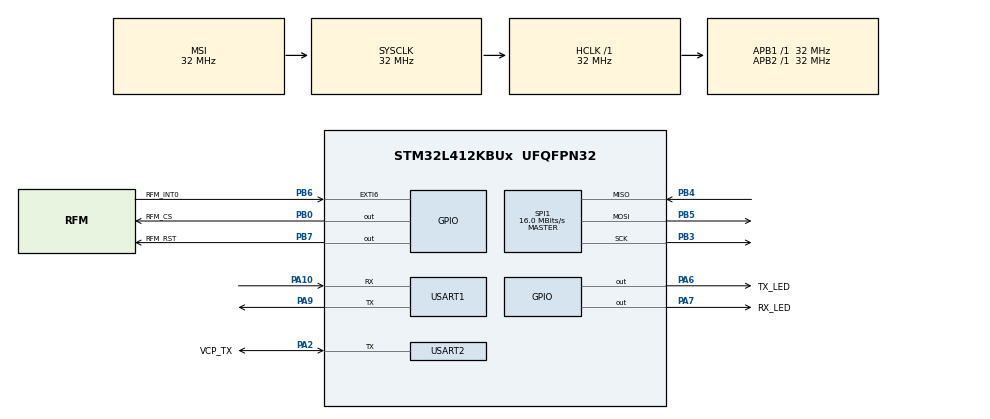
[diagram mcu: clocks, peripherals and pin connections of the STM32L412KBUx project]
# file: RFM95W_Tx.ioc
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Mcu.Family=STM32L4
Mcu.Name=STM32L412KBUx
Mcu.Package=UFQFPN32
NVIC.EXTI9_5_IRQn=true\:0\:0\:false\:false\:true\:true\:true\:true
NVIC.PriorityGroup=NVIC_PRIORITYGROUP_4
PA0-CK_IN.Signal=RCC_CK_IN
PA10.Mode=Asynchronous
PA10.Signal=USART1_RX
PA13\ (JTMS/SWDIO).GPIO_Label=SWDIO
PA13\ (JTMS/SWDIO).Signal=SYS_JTMS-SWDIO
PA14\ (JTCK/SWCLK).GPIO_Label=SWCLK
PA14\ (JTCK/SWCLK).Signal=SYS_JTCK-SWCLK
PA15\ (JTDI).GPIO_Label=VCP_RX
PA15\ (JTDI).Signal=USART2_RX
PA2.GPIO_Label=VCP_TX
PA2.Mode=Half_duplex(single_wire_mode)
PA2.Signal=USART2_TX
PA6.GPIO_Label=TX_LED
PA6.GPIO_PuPd=GPIO_PULLUP
PA6.Signal=GPIO_Output
PA7.GPIO_Label=RX_LED
PA7.GPIO_PuPd=GPIO_PULLUP
PA7.Signal=GPIO_Output
PA9.Mode=Asynchronous
PA9.Signal=USART1_TX
PB0.GPIO_Label=RFM_CS
PB0.Signal=GPIO_Output
PB3\ (JTDO/TRACESWO).Mode=Full_Duplex_Master
PB3\ (JTDO/TRACESWO).Signal=SPI1_SCK
PB4\ (NJTRST).Mode=Full_Duplex_Master
PB4\ (NJTRST).Signal=SPI1_MISO
PB5.Mode=Full_Duplex_Master
PB5.Signal=SPI1_MOSI
PB6.GPIO_Label=RFM_INT0
PB6.Signal=GPXTI6
PB7.GPIO_Label=RFM_RST
PB7.Signal=GPIO_Output
PC14-OSC32_IN\ (PC14).Signal=RCC_OSC32_IN
PC15-OSC32_OUT\ (PC15).Signal=RCC_OSC32_OUT
ProjectManager.HeapSize=0x200
ProjectManager.StackSize=0x400
ProjectManager.TargetToolchain=STM32CubeIDE
RCC.ADCFreq_Value=32000000
RCC.AHBFreq_Value=32000000
RCC.APB1Freq_Value=32000000
RCC.APB1TimFreq_Value=32000000
RCC.APB2Freq_Value=32000000
RCC.APB2TimFreq_Value=32000000
RCC.CortexFreq_Value=32000000
RCC.FLatency=FLASH_LATENCY_1
RCC.HCLKFreq_Value=32000000
RCC.HSE_VALUE=8000000
RCC.HSI48_VALUE=48000000
RCC.HSICalibrationValue=64
RCC.HSI_VALUE=16000000
RCC.LSE_VALUE=32768
RCC.MSIClockRange=RCC_MSIRANGE_10
RCC.MSI_VALUE=32000000
RCC.SYSCLKFreq_VALUE=32000000
RCC.USBFreq_Value=32000000
RCC.VCOOutputFreq_Value=256000000
SPI1.CalculateBaudRate=16.0 MBits/s
SPI1.DataSize=SPI_DATASIZE_8BIT
SPI1.Direction=SPI_DIRECTION_2LINES
SPI1.Mode=SPI_MODE_MASTER
SPI1.VirtualType=VM_MASTER
USART1.VirtualMode-Asynchronous=VM_ASYNC
USART2.VirtualMode-Half_duplex(single_wire_mode)=VM_ASYNC
VP_FATFS_VS_Generic.Mode=User_defined
board=NUCLEO-L412KB

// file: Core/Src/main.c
/* USER CODE BEGIN Header */
/**
  ******************************************************************************
  * @file           : main.c
  * @brief          : Main program body
  ******************************************************************************
  * @attention
  *
  * Copyright (c) 2025 STMicroelectronics.
  * All rights reserved.
  *
  * This software is licensed under terms that can be found in the LICENSE file
  * in the root directory of this software component.
  * If no LICENSE file comes with this software, it is provided AS-IS.
  *
  ******************************************************************************
  */
/* USER CODE END Header */
#include "main.h"
#include "fatfs.h"

/* USER CODE BEGIN Includes */
#include "rfm95.h"
#include <stdio.h>
/* USER CODE END Includes */

SPI_HandleTypeDef hspi1;

UART_HandleTypeDef huart1;
UART_HandleTypeDef huart2;

void SystemClock_Config(void);
static void MX_GPIO_Init(void);
static void MX_SPI1_Init(void);
static void MX_USART2_UART_Init(void);
static void MX_USART1_UART_Init(void);

/* USER CODE BEGIN 0 */
/*Overwrite _write function to allow printf to print to serial consle*/
int _write(int file, char *ptr, int len) {
	HAL_StatusTypeDef hstatus;

	if ( (file == 1) | (file == 2) ){/*Stout=1 or Sterr=2*/
		hstatus = HAL_UART_Transmit(&huart2, (uint8_t *) ptr, len, HAL_MAX_DELAY);
		if (hstatus == HAL_OK)
			return len;
		else
			return -1;
	}
	return -1;
}
/* USER CODE END 0 */

int main(void)
{

  /* USER CODE BEGIN 1 */
	uint8_t LoRa_buff[RH_RF95_FIFO_SIZE] = {0};
  /* USER CODE END 1 */

  /* MCU Configuration--------------------------------------------------------*/

  /* Reset of all peripherals, Initializes the Flash interface and the Systick. */
  HAL_Init();

  /* Configure the system clock */
  SystemClock_Config();

  /* Initialize all configured peripherals */
  MX_GPIO_Init();
  MX_SPI1_Init();
  MX_USART2_UART_Init();
  MX_USART1_UART_Init();
  MX_FATFS_Init();
  /* USER CODE BEGIN 2 */
	if(!RF95_Init()){
		printf("RFM95 Init Failed\n");
	}
	printf("RFM95 Init Success\n");
  /* USER CODE END 2 */

  /* Infinite loop */
  while (1)
  {
		HAL_GPIO_WritePin(TX_LED_GPIO_Port, TX_LED_Pin, GPIO_PIN_SET);
  	strcpy((char*)LoRa_buff, "Test\n");
  	RF95_send(LoRa_buff);
		HAL_Delay(1000);
		HAL_GPIO_WritePin(TX_LED_GPIO_Port, TX_LED_Pin, GPIO_PIN_RESET);
		printf("Sent data\r\n");
		HAL_Delay(1000);

  }
}

void SystemClock_Config(void)
{
  RCC_OscInitTypeDef RCC_OscInitStruct = {0};
  RCC_ClkInitTypeDef RCC_ClkInitStruct = {0};

  /** Configure the main internal regulator output voltage
  */
  if (HAL_PWREx_ControlVoltageScaling(PWR_REGULATOR_VOLTAGE_SCALE1) != HAL_OK)
  {
    Error_Handler();
  }

  /** Initializes the RCC Oscillators according to the specified parameters
  * in the RCC_OscInitTypeDef structure.
  */
  RCC_OscInitStruct.OscillatorType = RCC_OSCILLATORTYPE_MSI;
  RCC_OscInitStruct.MSIState = RCC_MSI_ON;
  RCC_OscInitStruct.MSICalibrationValue = 0;
  RCC_OscInitStruct.MSIClockRange = RCC_MSIRANGE_10;
  RCC_OscInitStruct.PLL.PLLState = RCC_PLL_NONE;
  if (HAL_RCC_OscConfig(&RCC_OscInitStruct) != HAL_OK)
  {
    Error_Handler();
  }

  /** Initializes the CPU, AHB and APB buses clocks
  */
  RCC_ClkInitStruct.ClockType = RCC_CLOCKTYPE_HCLK|RCC_CLOCKTYPE_SYSCLK
                              |RCC_CLOCKTYPE_PCLK1|RCC_CLOCKTYPE_PCLK2;
  RCC_ClkInitStruct.SYSCLKSource = RCC_SYSCLKSOURCE_MSI;
  RCC_ClkInitStruct.AHBCLKDivider = RCC_SYSCLK_DIV1;
  RCC_ClkInitStruct.APB1CLKDivider = RCC_HCLK_DIV1;
  RCC_ClkInitStruct.APB2CLKDivider = RCC_HCLK_DIV1;

  if (HAL_RCC_ClockConfig(&RCC_ClkInitStruct, FLASH_LATENCY_1) != HAL_OK)
  {
    Error_Handler();
  }
}

static void MX_SPI1_Init(void)
{

  /* SPI1 parameter configuration*/
  hspi1.Instance = SPI1;
  hspi1.Init.Mode = SPI_MODE_MASTER;
  hspi1.Init.Direction = SPI_DIRECTION_2LINES;
  hspi1.Init.DataSize = SPI_DATASIZE_8BIT;
  hspi1.Init.CLKPolarity = SPI_POLARITY_LOW;
  hspi1.Init.CLKPhase = SPI_PHASE_1EDGE;
  hspi1.Init.NSS = SPI_NSS_SOFT;
  hspi1.Init.BaudRatePrescaler = SPI_BAUDRATEPRESCALER_2;
  hspi1.Init.FirstBit = SPI_FIRSTBIT_MSB;
  hspi1.Init.TIMode = SPI_TIMODE_DISABLE;
  hspi1.Init.CRCCalculation = SPI_CRCCALCULATION_DISABLE;
  hspi1.Init.CRCPolynomial = 7;
  hspi1.Init.CRCLength = SPI_CRC_LENGTH_DATASIZE;
  hspi1.Init.NSSPMode = SPI_NSS_PULSE_ENABLE;
  if (HAL_SPI_Init(&hspi1) != HAL_OK)
  {
    Error_Handler();
  }

}

static void MX_USART1_UART_Init(void)
{

  huart1.Instance = USART1;
  huart1.Init.BaudRate = 115200;
  huart1.Init.WordLength = UART_WORDLENGTH_8B;
  huart1.Init.StopBits = UART_STOPBITS_1;
  huart1.Init.Parity = UART_PARITY_NONE;
  huart1.Init.Mode = UART_MODE_TX_RX;
  huart1.Init.HwFlowCtl = UART_HWCONTROL_NONE;
  huart1.Init.OverSampling = UART_OVERSAMPLING_16;
  huart1.Init.OneBitSampling = UART_ONE_BIT_SAMPLE_DISABLE;
  huart1.AdvancedInit.AdvFeatureInit = UART_ADVFEATURE_NO_INIT;
  if (HAL_UART_Init(&huart1) != HAL_OK)
  {
    Error_Handler();
  }

}

static void MX_USART2_UART_Init(void)
{

  huart2.Instance = USART2;
  huart2.Init.BaudRate = 115200;
  huart2.Init.WordLength = UART_WORDLENGTH_8B;
  huart2.Init.StopBits = UART_STOPBITS_1;
  huart2.Init.Parity = UART_PARITY_NONE;
  huart2.Init.Mode = UART_MODE_TX_RX;
  huart2.Init.HwFlowCtl = UART_HWCONTROL_NONE;
  huart2.Init.OverSampling = UART_OVERSAMPLING_16;
  huart2.Init.OneBitSampling = UART_ONE_BIT_SAMPLE_DISABLE;
  huart2.AdvancedInit.AdvFeatureInit = UART_ADVFEATURE_NO_INIT;
  if (HAL_HalfDuplex_Init(&huart2) != HAL_OK)
  {
    Error_Handler();
  }

}

static void MX_GPIO_Init(void)
{
  GPIO_InitTypeDef GPIO_InitStruct = {0};

  /* GPIO Ports Clock Enable */
  __HAL_RCC_GPIOC_CLK_ENABLE();
  __HAL_RCC_GPIOA_CLK_ENABLE();
  __HAL_RCC_GPIOB_CLK_ENABLE();

  /*Configure GPIO pin Output Level */
  HAL_GPIO_WritePin(GPIOA, TX_LED_Pin|RX_LED_Pin, GPIO_PIN_RESET);

  /*Configure GPIO pin Output Level */
  HAL_GPIO_WritePin(GPIOB, RFM_CS_Pin|RFM_RST_Pin, GPIO_PIN_RESET);

  /*Configure GPIO pins : TX_LED_Pin RX_LED_Pin */
  GPIO_InitStruct.Pin = TX_LED_Pin|RX_LED_Pin;
  GPIO_InitStruct.Mode = GPIO_MODE_OUTPUT_PP;
  GPIO_InitStruct.Pull = GPIO_PULLUP;
  GPIO_InitStruct.Speed = GPIO_SPEED_FREQ_LOW;
  HAL_GPIO_Init(GPIOA, &GPIO_InitStruct);

  /*Configure GPIO pins : RFM_CS_Pin RFM_RST_Pin */
  GPIO_InitStruct.Pin = RFM_CS_Pin|RFM_RST_Pin;
  GPIO_InitStruct.Mode = GPIO_MODE_OUTPUT_PP;
  GPIO_InitStruct.Pull = GPIO_NOPULL;
  GPIO_InitStruct.Speed = GPIO_SPEED_FREQ_LOW;
  HAL_GPIO_Init(GPIOB, &GPIO_InitStruct);

  /*Configure GPIO pin : RFM_INT0_Pin */
  GPIO_InitStruct.Pin = RFM_INT0_Pin;
  GPIO_InitStruct.Mode = GPIO_MODE_IT_RISING;
  GPIO_InitStruct.Pull = GPIO_NOPULL;
  HAL_GPIO_Init(RFM_INT0_GPIO_Port, &GPIO_InitStruct);

  /* EXTI interrupt init*/
  HAL_NVIC_SetPriority(EXTI9_5_IRQn, 0, 0);
  HAL_NVIC_EnableIRQ(EXTI9_5_IRQn);

}

/* USER CODE BEGIN 4 */
//void HAL_GPIO_EXTI_Callback(uint16_t GPIO_Pin)
//{
//
//}
/* USER CODE END 4 */

void Error_Handler(void)
{
  __disable_irq();
  while (1)
  {
  }
}
